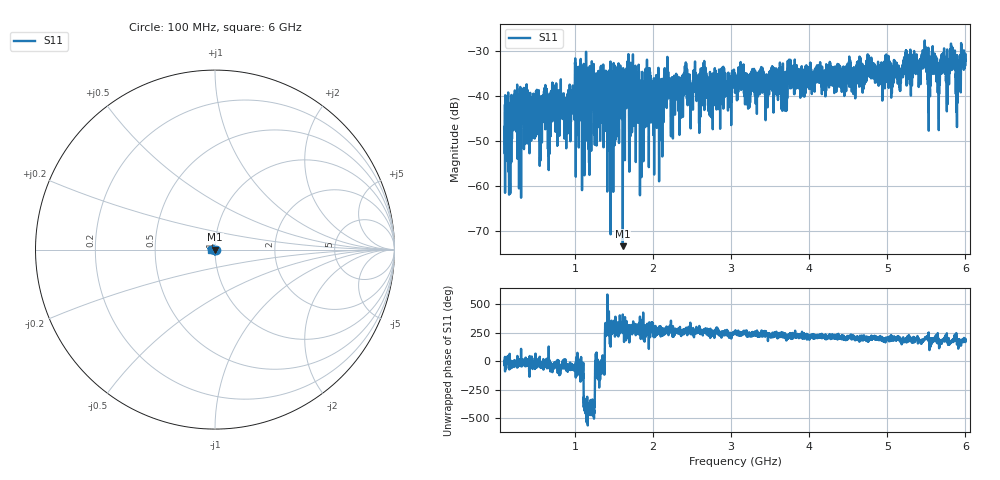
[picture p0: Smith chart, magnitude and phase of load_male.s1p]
# HZ S DB R 50
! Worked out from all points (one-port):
!   4001 points, 100 MHz to 6 GHz, reference 50 ohm
!   lowest |S11| = -73.3 dB at 1.613 GHz (marker M1), VSWR 1.00, Z = 50 + j0.0161 ohm
!   |S11| at or under -10 dB: start of sweep to end of sweep
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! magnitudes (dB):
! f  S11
! 100 MHz  -46.8
! 169.3 MHz  -46.8
! 231.3 MHz  -38.8
! 837.5 MHz  -45.1
! 896.5 MHz  -43.5
! 1.047 GHz  -33.8
! 1.152 GHz  -41.5
! 1.22 GHz  -40.0
! 1.274 GHz  -41.4
! 1.575 GHz  -44.8
! 1.613 GHz  -73.3
! 1.745 GHz  -37.1
! 1.86 GHz  -43.5
! 1.932 GHz  -36.6
! 2.312 GHz  -37.2
! 2.653 GHz  -35.0
! 2.736 GHz  -43.6
! 3.05 GHz  -39.3
! 3.788 GHz  -36.8
! 4.525 GHz  -36.3
! 5.263 GHz  -31.9
! 5.473 GHz  -31.0
! 5.537 GHz  -35.9
! 5.593 GHz  -31.2
! 5.65 GHz  -39.3
! 5.838 GHz  -31.3
! 5.9 GHz  -35.4
! 6 GHz  -32.1
